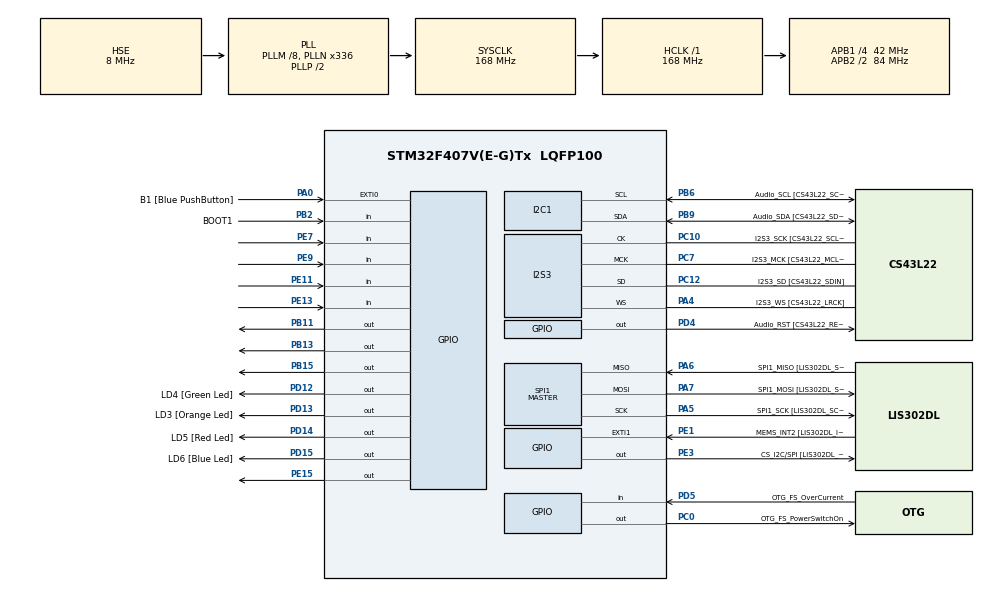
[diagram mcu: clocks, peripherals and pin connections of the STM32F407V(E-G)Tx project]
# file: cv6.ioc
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I2S3.AudioFreq-Half_Duplex_Master=I2S_AUDIOFREQ_96K
I2S3.ErrorAudioFreq=-2.34 %
I2S3.ErrorAudioFreq-Half_Duplex_Master=0.8 %
I2S3.RealAudioFreq=93.75 KHz
I2S3.RealAudioFreq-Half_Duplex_Master=96.774 KHz
Mcu.Family=STM32F4
Mcu.Name=STM32F407V(E-G)Tx
Mcu.Package=LQFP100
NVIC.PriorityGroup=NVIC_PRIORITYGROUP_0
NVIC.TIM2_IRQn=true\:0\:0\:false\:false\:true
PA0-WKUP.GPIO_Label=B1 [Blue PushButton]
PA0-WKUP.GPIO_ModeDefaultEXTI=GPIO_MODE_EVT_RISING
PA0-WKUP.GPIO_PuPd=GPIO_NOPULL
PA0-WKUP.Signal=GPXTI0
PA10.GPIO_Label=OTG_FS_ID
PA10.GPIO_Mode=GPIO_MODE_AF_PP
PA10.GPIO_PuPd=GPIO_NOPULL
PA10.GPIO_Speed=GPIO_SPEED_FREQ_LOW
PA10.Signal=USB_OTG_FS_ID
PA11.GPIO_Label=OTG_FS_DM
PA11.GPIO_Mode=GPIO_MODE_AF_PP
PA11.GPIO_PuPd=GPIO_NOPULL
PA11.GPIO_Speed=GPIO_SPEED_FREQ_LOW
PA11.Signal=USB_OTG_FS_DM
PA12.GPIO_Label=OTG_FS_DP
PA12.GPIO_Mode=GPIO_MODE_AF_PP
PA12.GPIO_PuPd=GPIO_NOPULL
PA12.GPIO_Speed=GPIO_SPEED_FREQ_LOW
PA12.Signal=USB_OTG_FS_DP
PA13.GPIO_Label=SWDIO
PA13.Mode=Serial_Wire
PA13.Signal=SYS_JTMS-SWDIO
PA14.GPIO_Label=SWCLK
PA14.Mode=Serial_Wire
PA14.Signal=SYS_JTCK-SWCLK
PA4.GPIO_Label=I2S3_WS [CS43L22_LRCK]
PA4.GPIO_Mode=GPIO_MODE_AF_PP
PA4.GPIO_PuPd=GPIO_NOPULL
PA4.GPIO_Speed=GPIO_SPEED_FREQ_LOW
PA4.Mode=Half_Duplex_Master
PA4.Signal=I2S3_WS
PA5.GPIO_Label=SPI1_SCK [LIS302DL_SCL/SPC]
PA5.GPIO_Mode=GPIO_MODE_AF_PP
PA5.GPIO_PuPd=GPIO_NOPULL
PA5.GPIO_Speed=GPIO_SPEED_FREQ_LOW
PA5.Mode=Full_Duplex_Master
PA5.Signal=SPI1_SCK
PA6.GPIO_Label=SPI1_MISO [LIS302DL_SDO]
PA6.GPIO_Mode=GPIO_MODE_AF_PP
PA6.GPIO_PuPd=GPIO_NOPULL
PA6.GPIO_Speed=GPIO_SPEED_FREQ_LOW
PA6.Mode=Full_Duplex_Master
PA6.Signal=SPI1_MISO
PA7.GPIO_Label=SPI1_MOSI [LIS302DL_SDA/SDI/SDO]
PA7.GPIO_Mode=GPIO_MODE_AF_PP
PA7.GPIO_PuPd=GPIO_NOPULL
PA7.GPIO_Speed=GPIO_SPEED_FREQ_LOW
PA7.Mode=Full_Duplex_Master
PA7.Signal=SPI1_MOSI
PA9.GPIO_Label=VBUS_FS
PA9.GPIO_Mode=GPIO_MODE_INPUT
PA9.GPIO_PuPd=GPIO_NOPULL
PA9.Signal=USB_OTG_FS_VBUS
PB10.GPIO_Label=CLK_IN [MP45DT02_CLK]
PB10.GPIO_Mode=GPIO_MODE_AF_PP
PB10.GPIO_PuPd=GPIO_NOPULL
PB10.GPIO_Speed=GPIO_SPEED_FREQ_LOW
PB10.Signal=I2S2_CK
PB11.GPIO_ModeDefaultOutputPP=GPIO_MODE_OUTPUT_OD
PB11.Signal=GPIO_Output
PB13.GPIO_ModeDefaultOutputPP=GPIO_MODE_OUTPUT_OD
PB13.Signal=GPIO_Output
PB15.GPIO_ModeDefaultOutputPP=GPIO_MODE_OUTPUT_OD
PB15.Signal=GPIO_Output
PB2.GPIO_Label=BOOT1
PB2.GPIO_Mode=GPIO_MODE_INPUT
PB2.GPIO_PuPd=GPIO_NOPULL
PB2.Signal=GPIO_Input
PB3.GPIO_Label=SWO
PB3.Signal=SYS_JTDO-SWO
PB6.GPIO_Label=Audio_SCL [CS43L22_SCL]
PB6.GPIO_Mode=GPIO_MODE_AF_OD
PB6.GPIO_PuPd=GPIO_NOPULL
PB6.GPIO_Speed=GPIO_SPEED_FREQ_LOW
PB6.Mode=I2C
PB6.Signal=I2C1_SCL
PB9.GPIO_Label=Audio_SDA [CS43L22_SDA]
PB9.GPIO_Mode=GPIO_MODE_AF_OD
PB9.GPIO_PuPd=GPIO_NOPULL
PB9.GPIO_Speed=GPIO_SPEED_FREQ_LOW
PB9.Mode=I2C
PB9.Signal=I2C1_SDA
PC0.GPIO_Label=OTG_FS_PowerSwitchOn
PC0.GPIO_PuPd=GPIO_NOPULL
PC0.GPIO_Speed=GPIO_SPEED_FREQ_LOW
PC0.PinState=GPIO_PIN_SET
PC0.Signal=GPIO_Output
PC10.GPIO_Label=I2S3_SCK [CS43L22_SCLK]
PC10.GPIO_Mode=GPIO_MODE_AF_PP
PC10.GPIO_PuPd=GPIO_NOPULL
PC10.GPIO_Speed=GPIO_SPEED_FREQ_LOW
PC10.Mode=Half_Duplex_Master
PC10.Signal=I2S3_CK
PC12.GPIO_Label=I2S3_SD [CS43L22_SDIN]
PC12.GPIO_Mode=GPIO_MODE_AF_PP
PC12.GPIO_PuPd=GPIO_NOPULL
PC12.GPIO_Speed=GPIO_SPEED_FREQ_LOW
PC12.Mode=Half_Duplex_Master
PC12.Signal=I2S3_SD
PC14-OSC32_IN.GPIO_Label=PC14-OSC32_IN
PC14-OSC32_IN.Mode=LSE-External-Oscillator
PC14-OSC32_IN.Signal=RCC_OSC32_IN
PC15-OSC32_OUT.GPIO_Label=PC15-OSC32_OUT
PC15-OSC32_OUT.Mode=LSE-External-Oscillator
PC15-OSC32_OUT.Signal=RCC_OSC32_OUT
PC3.GPIO_Label=PDM_OUT [MP45DT02_DOUT]
PC3.GPIO_Mode=GPIO_MODE_AF_PP
PC3.GPIO_PuPd=GPIO_NOPULL
PC3.GPIO_Speed=GPIO_SPEED_FREQ_LOW
PC3.Signal=I2S2_SD
PC7.GPIO_Label=I2S3_MCK [CS43L22_MCLK]
PC7.GPIO_Mode=GPIO_MODE_AF_PP
PC7.GPIO_PuPd=GPIO_NOPULL
PC7.GPIO_Speed=GPIO_SPEED_FREQ_LOW
PC7.Mode=Master_Clock_Activated
PC7.Signal=I2S3_MCK
PD12.GPIO_Label=LD4 [Green Led]
PD12.GPIO_PuPd=GPIO_NOPULL
PD12.GPIO_Speed=GPIO_SPEED_FREQ_LOW
PD12.Signal=GPIO_Output
PD13.GPIO_Label=LD3 [Orange Led]
PD13.GPIO_PuPd=GPIO_NOPULL
PD13.GPIO_Speed=GPIO_SPEED_FREQ_LOW
PD13.Signal=GPIO_Output
PD14.GPIO_Label=LD5 [Red Led]
PD14.GPIO_PuPd=GPIO_NOPULL
PD14.GPIO_Speed=GPIO_SPEED_FREQ_LOW
PD14.Signal=GPIO_Output
PD15.GPIO_Label=LD6 [Blue Led]
PD15.GPIO_PuPd=GPIO_NOPULL
PD15.GPIO_Speed=GPIO_SPEED_FREQ_LOW
PD15.Signal=GPIO_Output
PD4.GPIO_Label=Audio_RST [CS43L22_RESET]
PD4.GPIO_PuPd=GPIO_NOPULL
PD4.GPIO_Speed=GPIO_SPEED_FREQ_LOW
PD4.Signal=GPIO_Output
PD5.GPIO_Label=OTG_FS_OverCurrent
PD5.GPIO_Mode=GPIO_MODE_INPUT
PD5.GPIO_PuPd=GPIO_NOPULL
PD5.Signal=GPIO_Input
PE1.GPIO_Label=MEMS_INT2 [LIS302DL_INT2]
PE1.GPIO_ModeDefaultEXTI=GPIO_MODE_EVT_RISING
PE1.GPIO_PuPd=GPIO_NOPULL
PE1.Signal=GPXTI1
PE11.GPIO_PuPd=GPIO_PULLUP
PE11.Signal=GPIO_Input
PE13.GPIO_PuPd=GPIO_PULLUP
PE13.Signal=GPIO_Input
PE15.GPIO_ModeDefaultOutputPP=GPIO_MODE_OUTPUT_OD
PE15.Signal=GPIO_Output
PE3.GPIO_Label=CS_I2C/SPI [LIS302DL_CS_I2C/SPI]
PE3.GPIO_PuPd=GPIO_NOPULL
PE3.GPIO_Speed=GPIO_SPEED_FREQ_LOW
PE3.Signal=GPIO_Output
PE7.GPIO_PuPd=GPIO_PULLUP
PE7.Signal=GPIO_Input
PE9.GPIO_PuPd=GPIO_PULLUP
PE9.Signal=GPIO_Input
PH0-OSC_IN.GPIO_Label=PH0-OSC_IN
PH0-OSC_IN.Mode=HSE-External-Oscillator
PH0-OSC_IN.Signal=RCC_OSC_IN
PH1-OSC_OUT.GPIO_Label=PH1-OSC_OUT
PH1-OSC_OUT.Mode=HSE-External-Oscillator
PH1-OSC_OUT.Signal=RCC_OSC_OUT
ProjectManager.HeapSize=0x200
ProjectManager.StackSize=0x400
ProjectManager.TargetToolchain=SW4STM32
RCC.48MHZClocksFreq_Value=48000000
RCC.AHBFreq_Value=168000000
RCC.APB1CLKDivider=RCC_HCLK_DIV4
RCC.APB1Freq_Value=42000000
RCC.APB1TimFreq_Value=84000000
RCC.APB2CLKDivider=RCC_HCLK_DIV2
RCC.APB2Freq_Value=84000000
RCC.APB2TimFreq_Value=168000000
RCC.CortexFreq_Value=168000000
RCC.HCLKFreq_Value=168000000
RCC.HSE_VALUE=8000000
RCC.HSI_VALUE=16000000
RCC.PLLM=8
RCC.PLLN=336
RCC.PLLQ=7
RCC.PLLSourceVirtual=RCC_PLLSOURCE_HSE
RCC.SYSCLKFreq_VALUE=168000000
RCC.SYSCLKSource=RCC_SYSCLKSOURCE_PLLCLK
RCC.VCOOutputFreq_Value=336000000
SPI1.BaudRatePrescaler-Full_Duplex_Master=SPI_BAUDRATEPRESCALER_2
SPI1.CalculateBaudRate-Full_Duplex_Master=42.0 MBits/s
SPI1.Mode=SPI_MODE_MASTER
SPI1.Mode-Full_Duplex_Master=SPI_MODE_MASTER
TIM2.Period=99
TIM2.Prescaler=8399
VP_TIM2_VS_ClockSourceINT.Mode=Internal
board=STM32F4DISCOVERY

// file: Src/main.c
/**
  ******************************************************************************
  * File Name          : main.c
  * Description        : Main program body
  ******************************************************************************
  *
  * COPYRIGHT(c) 2018 STMicroelectronics
  *
  * Redistribution and use in source and binary forms, with or without modification,
  * are permitted provided that the following conditions are met:
  *   1. Redistributions of source code must retain the above copyright notice,
  *      this list of conditions and the following disclaimer.
  *   2. Redistributions in binary form must reproduce the above copyright notice,
  *      this list of conditions and the following disclaimer in the documentation
  *      and/or other materials provided with the distribution.
  *   3. Neither the name of STMicroelectronics nor the names of its contributors
  *      may be used to endorse or promote products derived from this software
  *      without specific prior written permission.
  *
  * THIS SOFTWARE IS PROVIDED BY THE COPYRIGHT HOLDERS AND CONTRIBUTORS "AS IS"
  * AND ANY EXPRESS OR IMPLIED WARRANTIES, INCLUDING, BUT NOT LIMITED TO, THE
  * IMPLIED WARRANTIES OF MERCHANTABILITY AND FITNESS FOR A PARTICULAR PURPOSE ARE
  * DISCLAIMED. IN NO EVENT SHALL THE COPYRIGHT HOLDER OR CONTRIBUTORS BE LIABLE
  * FOR ANY DIRECT, INDIRECT, INCIDENTAL, SPECIAL, EXEMPLARY, OR CONSEQUENTIAL
  * DAMAGES (INCLUDING, BUT NOT LIMITED TO, PROCUREMENT OF SUBSTITUTE GOODS OR
  * SERVICES; LOSS OF USE, DATA, OR PROFITS; OR BUSINESS INTERRUPTION) HOWEVER
  * CAUSED AND ON ANY THEORY OF LIABILITY, WHETHER IN CONTRACT, STRICT LIABILITY,
  * OR TORT (INCLUDING NEGLIGENCE OR OTHERWISE) ARISING IN ANY WAY OUT OF THE USE
  * OF THIS SOFTWARE, EVEN IF ADVISED OF THE POSSIBILITY OF SUCH DAMAGE.
  *
  ******************************************************************************
  */
#include "main.h"
#include "stm32f4xx_hal.h"

/* USER CODE BEGIN Includes */
#include <stdio.h>
/* USER CODE END Includes */

I2C_HandleTypeDef hi2c1;

I2S_HandleTypeDef hi2s3;

SPI_HandleTypeDef hspi1;

TIM_HandleTypeDef htim2;

/* USER CODE BEGIN PV */
/* Private variables ---------------------------------------------------------*/
static volatile int key = -1;

/* USER CODE END PV */

void SystemClock_Config(void);
void Error_Handler(void);
static void MX_GPIO_Init(void);
static void MX_I2C1_Init(void);
static void MX_I2S3_Init(void);
static void MX_SPI1_Init(void);
static void MX_TIM2_Init(void);

/* USER CODE BEGIN PFP */
/* Private function prototypes -----------------------------------------------*/

/* USER CODE END PFP */

int main(void)
{

  /* USER CODE BEGIN 1 */
  const int kod[5] = {7, 9, 3, 2, 12};
  static int stisknuto[5] = {0, 0, 0, 0, 0};
  int counter, time = 0;
  int match = 0;
  static int delay = 0;
  /* USER CODE END 1 */

  /* MCU Configuration----------------------------------------------------------*/

  /* Reset of all peripherals, Initializes the Flash interface and the Systick. */
  HAL_Init();

  /* Configure the system clock */
  SystemClock_Config();

  /* Initialize all configured peripherals */
  MX_GPIO_Init();
  MX_I2C1_Init();
  MX_I2S3_Init();
  MX_SPI1_Init();
  MX_TIM2_Init();

  /* USER CODE BEGIN 2 */
  HAL_TIM_Base_Start_IT(&htim2);
  /* USER CODE END 2 */

  /* Infinite loop */
  /* USER CODE BEGIN WHILE */
  while (1)
  {
    HAL_Delay(250);
    time = HAL_GetTick();

    if ((time-delay) > 3000) {
        printf("Time out\n");
        counter = 0;
    }

    if (key != -1) {
        delay = HAL_GetTick();
        printf("Stisknuto: %d\n", key);
        stisknuto[counter] = key;
        counter++;

        if (counter >= 5) {
           counter = 0;
           printf("Nuluji counter \n");
           for (int i=0; i<5; i++) {
              if (stisknuto[i] == kod[i]) {
                  match++;
                  printf("Inkrementuji match \n");
              }
           }
        }

        if (match >= 5) {
           printf("Otevreno \n");
           HAL_GPIO_TogglePin(LD6_GPIO_Port, LD6_Pin);
        }

        match = 0;
        HAL_Delay(250);
        key = -1;

    }

/* USER CODE END WHILE */

  }

}

/** System Clock Configuration
*/
void SystemClock_Config(void)
{

  RCC_OscInitTypeDef RCC_OscInitStruct;
  RCC_ClkInitTypeDef RCC_ClkInitStruct;
  RCC_PeriphCLKInitTypeDef PeriphClkInitStruct;

    /**Configure the main internal regulator output voltage
    */
  __HAL_RCC_PWR_CLK_ENABLE();

  __HAL_PWR_VOLTAGESCALING_CONFIG(PWR_REGULATOR_VOLTAGE_SCALE1);

    /**Initializes the CPU, AHB and APB busses clocks
    */
  RCC_OscInitStruct.OscillatorType = RCC_OSCILLATORTYPE_HSE;
  RCC_OscInitStruct.HSEState = RCC_HSE_ON;
  RCC_OscInitStruct.PLL.PLLState = RCC_PLL_ON;
  RCC_OscInitStruct.PLL.PLLSource = RCC_PLLSOURCE_HSE;
  RCC_OscInitStruct.PLL.PLLM = 8;
  RCC_OscInitStruct.PLL.PLLN = 336;
  RCC_OscInitStruct.PLL.PLLP = RCC_PLLP_DIV2;
  RCC_OscInitStruct.PLL.PLLQ = 7;
  if (HAL_RCC_OscConfig(&RCC_OscInitStruct) != HAL_OK)
  {
    Error_Handler();
  }

    /**Initializes the CPU, AHB and APB busses clocks
    */
  RCC_ClkInitStruct.ClockType = RCC_CLOCKTYPE_HCLK|RCC_CLOCKTYPE_SYSCLK
                              |RCC_CLOCKTYPE_PCLK1|RCC_CLOCKTYPE_PCLK2;
  RCC_ClkInitStruct.SYSCLKSource = RCC_SYSCLKSOURCE_PLLCLK;
  RCC_ClkInitStruct.AHBCLKDivider = RCC_SYSCLK_DIV1;
  RCC_ClkInitStruct.APB1CLKDivider = RCC_HCLK_DIV4;
  RCC_ClkInitStruct.APB2CLKDivider = RCC_HCLK_DIV2;

  if (HAL_RCC_ClockConfig(&RCC_ClkInitStruct, FLASH_LATENCY_5) != HAL_OK)
  {
    Error_Handler();
  }

  PeriphClkInitStruct.PeriphClockSelection = RCC_PERIPHCLK_I2S;
  PeriphClkInitStruct.PLLI2S.PLLI2SN = 192;
  PeriphClkInitStruct.PLLI2S.PLLI2SR = 2;
  if (HAL_RCCEx_PeriphCLKConfig(&PeriphClkInitStruct) != HAL_OK)
  {
    Error_Handler();
  }

    /**Configure the Systick interrupt time
    */
  HAL_SYSTICK_Config(HAL_RCC_GetHCLKFreq()/1000);

    /**Configure the Systick
    */
  HAL_SYSTICK_CLKSourceConfig(SYSTICK_CLKSOURCE_HCLK);

  /* SysTick_IRQn interrupt configuration */
  HAL_NVIC_SetPriority(SysTick_IRQn, 0, 0);
}

/* I2C1 init function */
static void MX_I2C1_Init(void)
{

  hi2c1.Instance = I2C1;
  hi2c1.Init.ClockSpeed = 100000;
  hi2c1.Init.DutyCycle = I2C_DUTYCYCLE_2;
  hi2c1.Init.OwnAddress1 = 0;
  hi2c1.Init.AddressingMode = I2C_ADDRESSINGMODE_7BIT;
  hi2c1.Init.DualAddressMode = I2C_DUALADDRESS_DISABLE;
  hi2c1.Init.OwnAddress2 = 0;
  hi2c1.Init.GeneralCallMode = I2C_GENERALCALL_DISABLE;
  hi2c1.Init.NoStretchMode = I2C_NOSTRETCH_DISABLE;
  if (HAL_I2C_Init(&hi2c1) != HAL_OK)
  {
    Error_Handler();
  }

}

/* I2S3 init function */
static void MX_I2S3_Init(void)
{

  hi2s3.Instance = SPI3;
  hi2s3.Init.Mode = I2S_MODE_MASTER_TX;
  hi2s3.Init.Standard = I2S_STANDARD_PHILIPS;
  hi2s3.Init.DataFormat = I2S_DATAFORMAT_16B;
  hi2s3.Init.MCLKOutput = I2S_MCLKOUTPUT_ENABLE;
  hi2s3.Init.AudioFreq = I2S_AUDIOFREQ_96K;
  hi2s3.Init.CPOL = I2S_CPOL_LOW;
  hi2s3.Init.ClockSource = I2S_CLOCK_PLL;
  hi2s3.Init.FullDuplexMode = I2S_FULLDUPLEXMODE_DISABLE;
  if (HAL_I2S_Init(&hi2s3) != HAL_OK)
  {
    Error_Handler();
  }

}

/* SPI1 init function */
static void MX_SPI1_Init(void)
{

  hspi1.Instance = SPI1;
  hspi1.Init.Mode = SPI_MODE_MASTER;
  hspi1.Init.Direction = SPI_DIRECTION_2LINES;
  hspi1.Init.DataSize = SPI_DATASIZE_8BIT;
  hspi1.Init.CLKPolarity = SPI_POLARITY_LOW;
  hspi1.Init.CLKPhase = SPI_PHASE_1EDGE;
  hspi1.Init.NSS = SPI_NSS_SOFT;
  hspi1.Init.BaudRatePrescaler = SPI_BAUDRATEPRESCALER_2;
  hspi1.Init.FirstBit = SPI_FIRSTBIT_MSB;
  hspi1.Init.TIMode = SPI_TIMODE_DISABLE;
  hspi1.Init.CRCCalculation = SPI_CRCCALCULATION_DISABLE;
  hspi1.Init.CRCPolynomial = 10;
  if (HAL_SPI_Init(&hspi1) != HAL_OK)
  {
    Error_Handler();
  }

}

/* TIM2 init function */
static void MX_TIM2_Init(void)
{

  TIM_ClockConfigTypeDef sClockSourceConfig;
  TIM_MasterConfigTypeDef sMasterConfig;

  htim2.Instance = TIM2;
  htim2.Init.Prescaler = 8399;
  htim2.Init.CounterMode = TIM_COUNTERMODE_UP;
  htim2.Init.Period = 99;
  htim2.Init.ClockDivision = TIM_CLOCKDIVISION_DIV1;
  if (HAL_TIM_Base_Init(&htim2) != HAL_OK)
  {
    Error_Handler();
  }

  sClockSourceConfig.ClockSource = TIM_CLOCKSOURCE_INTERNAL;
  if (HAL_TIM_ConfigClockSource(&htim2, &sClockSourceConfig) != HAL_OK)
  {
    Error_Handler();
  }

  sMasterConfig.MasterOutputTrigger = TIM_TRGO_RESET;
  sMasterConfig.MasterSlaveMode = TIM_MASTERSLAVEMODE_DISABLE;
  if (HAL_TIMEx_MasterConfigSynchronization(&htim2, &sMasterConfig) != HAL_OK)
  {
    Error_Handler();
  }

}

/** Configure pins as
        * Analog
        * Input
        * Output
        * EVENT_OUT
        * EXTI
     PC3   ------> I2S2_SD
     PB10   ------> I2S2_CK
     PA9   ------> USB_OTG_FS_VBUS
     PA10   ------> USB_OTG_FS_ID
     PA11   ------> USB_OTG_FS_DM
     PA12   ------> USB_OTG_FS_DP
*/
static void MX_GPIO_Init(void)
{

  GPIO_InitTypeDef GPIO_InitStruct;

  /* GPIO Ports Clock Enable */
  __HAL_RCC_GPIOE_CLK_ENABLE();
  __HAL_RCC_GPIOC_CLK_ENABLE();
  __HAL_RCC_GPIOH_CLK_ENABLE();
  __HAL_RCC_GPIOA_CLK_ENABLE();
  __HAL_RCC_GPIOB_CLK_ENABLE();
  __HAL_RCC_GPIOD_CLK_ENABLE();

  /*Configure GPIO pin Output Level */
  HAL_GPIO_WritePin(GPIOE, CS_I2C_SPI_Pin|GPIO_PIN_15, GPIO_PIN_RESET);

  /*Configure GPIO pin Output Level */
  HAL_GPIO_WritePin(OTG_FS_PowerSwitchOn_GPIO_Port, OTG_FS_PowerSwitchOn_Pin, GPIO_PIN_SET);

  /*Configure GPIO pin Output Level */
  HAL_GPIO_WritePin(GPIOB, GPIO_PIN_11|GPIO_PIN_13|GPIO_PIN_15, GPIO_PIN_RESET);

  /*Configure GPIO pin Output Level */
  HAL_GPIO_WritePin(GPIOD, LD4_Pin|LD3_Pin|LD5_Pin|LD6_Pin
                          |Audio_RST_Pin, GPIO_PIN_RESET);

  /*Configure GPIO pin : CS_I2C_SPI_Pin */
  GPIO_InitStruct.Pin = CS_I2C_SPI_Pin;
  GPIO_InitStruct.Mode = GPIO_MODE_OUTPUT_PP;
  GPIO_InitStruct.Pull = GPIO_NOPULL;
  GPIO_InitStruct.Speed = GPIO_SPEED_FREQ_LOW;
  HAL_GPIO_Init(CS_I2C_SPI_GPIO_Port, &GPIO_InitStruct);

  /*Configure GPIO pin : OTG_FS_PowerSwitchOn_Pin */
  GPIO_InitStruct.Pin = OTG_FS_PowerSwitchOn_Pin;
  GPIO_InitStruct.Mode = GPIO_MODE_OUTPUT_PP;
  GPIO_InitStruct.Pull = GPIO_NOPULL;
  GPIO_InitStruct.Speed = GPIO_SPEED_FREQ_LOW;
  HAL_GPIO_Init(OTG_FS_PowerSwitchOn_GPIO_Port, &GPIO_InitStruct);

  /*Configure GPIO pin : PDM_OUT_Pin */
  GPIO_InitStruct.Pin = PDM_OUT_Pin;
  GPIO_InitStruct.Mode = GPIO_MODE_AF_PP;
  GPIO_InitStruct.Pull = GPIO_NOPULL;
  GPIO_InitStruct.Speed = GPIO_SPEED_FREQ_LOW;
  GPIO_InitStruct.Alternate = GPIO_AF5_SPI2;
  HAL_GPIO_Init(PDM_OUT_GPIO_Port, &GPIO_InitStruct);

  /*Configure GPIO pin : B1_Pin */
  GPIO_InitStruct.Pin = B1_Pin;
  GPIO_InitStruct.Mode = GPIO_MODE_EVT_RISING;
  GPIO_InitStruct.Pull = GPIO_NOPULL;
  HAL_GPIO_Init(B1_GPIO_Port, &GPIO_InitStruct);

  /*Configure GPIO pin : BOOT1_Pin */
  GPIO_InitStruct.Pin = BOOT1_Pin;
  GPIO_InitStruct.Mode = GPIO_MODE_INPUT;
  GPIO_InitStruct.Pull = GPIO_NOPULL;
  HAL_GPIO_Init(BOOT1_GPIO_Port, &GPIO_InitStruct);

  /*Configure GPIO pins : PE7 PE9 PE11 PE13 */
  GPIO_InitStruct.Pin = GPIO_PIN_7|GPIO_PIN_9|GPIO_PIN_11|GPIO_PIN_13;
  GPIO_InitStruct.Mode = GPIO_MODE_INPUT;
  GPIO_InitStruct.Pull = GPIO_PULLUP;
  HAL_GPIO_Init(GPIOE, &GPIO_InitStruct);

  /*Configure GPIO pin : PE15 */
  GPIO_InitStruct.Pin = GPIO_PIN_15;
  GPIO_InitStruct.Mode = GPIO_MODE_OUTPUT_OD;
  GPIO_InitStruct.Pull = GPIO_NOPULL;
  GPIO_InitStruct.Speed = GPIO_SPEED_FREQ_LOW;
  HAL_GPIO_Init(GPIOE, &GPIO_InitStruct);

  /*Configure GPIO pin : CLK_IN_Pin */
  GPIO_InitStruct.Pin = CLK_IN_Pin;
  GPIO_InitStruct.Mode = GPIO_MODE_AF_PP;
  GPIO_InitStruct.Pull = GPIO_NOPULL;
  GPIO_InitStruct.Speed = GPIO_SPEED_FREQ_LOW;
  GPIO_InitStruct.Alternate = GPIO_AF5_SPI2;
  HAL_GPIO_Init(CLK_IN_GPIO_Port, &GPIO_InitStruct);

  /*Configure GPIO pins : PB11 PB13 PB15 */
  GPIO_InitStruct.Pin = GPIO_PIN_11|GPIO_PIN_13|GPIO_PIN_15;
  GPIO_InitStruct.Mode = GPIO_MODE_OUTPUT_OD;
  GPIO_InitStruct.Pull = GPIO_NOPULL;
  GPIO_InitStruct.Speed = GPIO_SPEED_FREQ_LOW;
  HAL_GPIO_Init(GPIOB, &GPIO_InitStruct);

  /*Configure GPIO pins : LD4_Pin LD3_Pin LD5_Pin LD6_Pin
                           Audio_RST_Pin */
  GPIO_InitStruct.Pin = LD4_Pin|LD3_Pin|LD5_Pin|LD6_Pin
                          |Audio_RST_Pin;
  GPIO_InitStruct.Mode = GPIO_MODE_OUTPUT_PP;
  GPIO_InitStruct.Pull = GPIO_NOPULL;
  GPIO_InitStruct.Speed = GPIO_SPEED_FREQ_LOW;
  HAL_GPIO_Init(GPIOD, &GPIO_InitStruct);

  /*Configure GPIO pin : VBUS_FS_Pin */
  GPIO_InitStruct.Pin = VBUS_FS_Pin;
  GPIO_InitStruct.Mode = GPIO_MODE_INPUT;
  GPIO_InitStruct.Pull = GPIO_NOPULL;
  HAL_GPIO_Init(VBUS_FS_GPIO_Port, &GPIO_InitStruct);

  /*Configure GPIO pins : OTG_FS_ID_Pin OTG_FS_DM_Pin OTG_FS_DP_Pin */
  GPIO_InitStruct.Pin = OTG_FS_ID_Pin|OTG_FS_DM_Pin|OTG_FS_DP_Pin;
  GPIO_InitStruct.Mode = GPIO_MODE_AF_PP;
  GPIO_InitStruct.Pull = GPIO_NOPULL;
  GPIO_InitStruct.Speed = GPIO_SPEED_FREQ_LOW;
  GPIO_InitStruct.Alternate = GPIO_AF10_OTG_FS;
  HAL_GPIO_Init(GPIOA, &GPIO_InitStruct);

  /*Configure GPIO pin : OTG_FS_OverCurrent_Pin */
  GPIO_InitStruct.Pin = OTG_FS_OverCurrent_Pin;
  GPIO_InitStruct.Mode = GPIO_MODE_INPUT;
  GPIO_InitStruct.Pull = GPIO_NOPULL;
  HAL_GPIO_Init(OTG_FS_OverCurrent_GPIO_Port, &GPIO_InitStruct);

  /*Configure GPIO pin : MEMS_INT2_Pin */
  GPIO_InitStruct.Pin = MEMS_INT2_Pin;
  GPIO_InitStruct.Mode = GPIO_MODE_EVT_RISING;
  GPIO_InitStruct.Pull = GPIO_NOPULL;
  HAL_GPIO_Init(MEMS_INT2_GPIO_Port, &GPIO_InitStruct);

}

/* USER CODE BEGIN 4 */
void HAL_TIM_PeriodElapsedCallback(TIM_HandleTypeDef *htim)
{
// ... kod ...
  static int row = 0;
  static const int keyboard[4][4] = {
    { 1, 2, 3, 21 },
    { 4, 5, 6, 22 },
    { 7, 8, 9, 23 },
    { 11, 0, 12, 24 },
  };

  if (key == -1) {
    if (HAL_GPIO_ReadPin(GPIOE, GPIO_PIN_13) == GPIO_PIN_RESET) key = keyboard[row][0];
    if (HAL_GPIO_ReadPin(GPIOE, GPIO_PIN_11) == GPIO_PIN_RESET) key = keyboard[row][1];
    if (HAL_GPIO_ReadPin(GPIOE, GPIO_PIN_9) == GPIO_PIN_RESET) key = keyboard[row][2];
    if (HAL_GPIO_ReadPin(GPIOE, GPIO_PIN_7) == GPIO_PIN_RESET) key = keyboard[row][3];
// ... atd ...
  }

  HAL_GPIO_WritePin(GPIOE, GPIO_PIN_15, GPIO_PIN_SET);
  HAL_GPIO_WritePin(GPIOB, GPIO_PIN_11, GPIO_PIN_SET);
  HAL_GPIO_WritePin(GPIOB, GPIO_PIN_13, GPIO_PIN_SET);
  HAL_GPIO_WritePin(GPIOB, GPIO_PIN_15, GPIO_PIN_SET);

  switch (row) {
    case 0: row = 1; HAL_GPIO_WritePin(GPIOB, GPIO_PIN_13, GPIO_PIN_RESET); break;
    case 1: row = 2; HAL_GPIO_WritePin(GPIOB, GPIO_PIN_11, GPIO_PIN_RESET); break;
    case 2: row = 3; HAL_GPIO_WritePin(GPIOE, GPIO_PIN_15, GPIO_PIN_RESET); break;
    case 3: row = 0; HAL_GPIO_WritePin(GPIOB, GPIO_PIN_15, GPIO_PIN_RESET); break;
    // ... atd ...
  }
}

/*  END 4 */

void Error_Handler(void)
{
  while(1)
  {
  }
}

/************************ (C) COPYRIGHT STMicroelectronics *****END OF FILE****/
